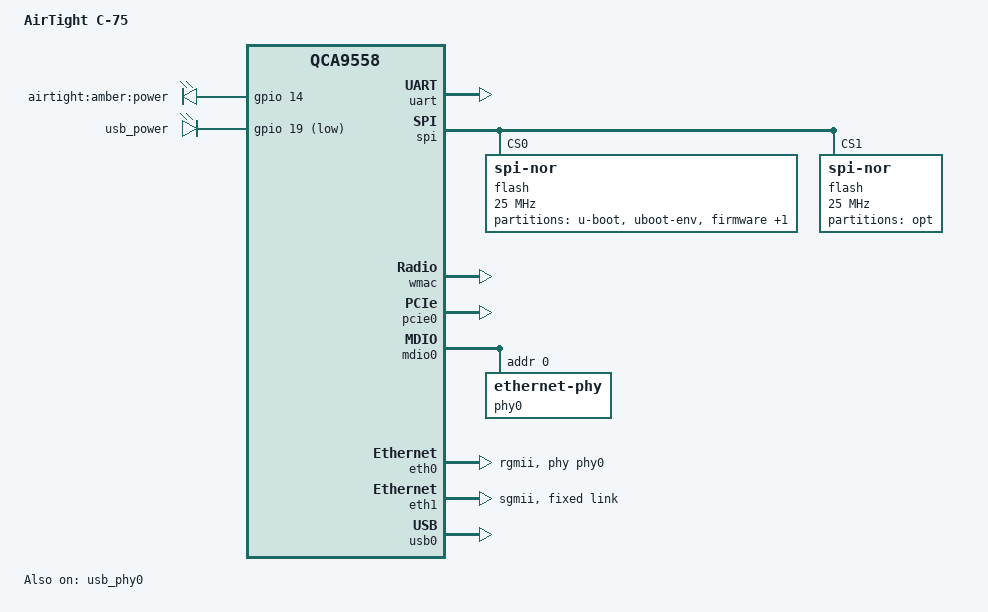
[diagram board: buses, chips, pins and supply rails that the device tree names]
// SPDX-License-Identifier: GPL-2.0-or-later OR MIT

/*
 * This board has QCA9550-AT4A CPU which is generic to Scorpion line, since QCA9550 is not defined in ath79 I just set it to be QCA9558.
 * LEDs "2.4Ghz WiFi" and "Power Green" seem to be connected to AR8334 and I did not find a way to export them.
 * This board has Reset Button but wiring is not known and is not defined in this file.
 */

/dts-v1/;

#include <dt-bindings/gpio/gpio.h>
#include <dt-bindings/input/input.h>

#include "qca9557.dtsi"

/ {
	model = "AirTight C-75";
	compatible = "airtight,c-75", "qca,qca9558";

	chosen {
		bootargs = "console=ttyS0,115200";
	};
	
	aliases {
		led-boot = &power;
		led-failsafe = &power;
		led-upgrade = &power;
	};

	leds {
		compatible = "gpio-leds";

		power: power {
			label = "airtight:amber:power";
			gpios = <&gpio 14 GPIO_ACTIVE_HIGH>;
			default-state = "on";
		};
		usb_power: usb_power {
			gpio-export,name = "airtight:power:usb";
			gpio-export,output = <1>;
			gpios = <&gpio 19 GPIO_ACTIVE_LOW>;
			default-state = "on";
		};
	};
};

&uart {
	status = "okay";
};

&spi {
	status = "okay";
	cs-gpios = <0>, <0>;
	num-cs = <2>;

	flash@0 {
		compatible = "jedec,spi-nor";
		reg = <0>;
		spi-max-frequency = <25000000>;

		partitions {
			compatible = "fixed-partitions";
			#address-cells = <1>;
			#size-cells = <1>;

			uboot: partition@0 {
				label = "u-boot";
				reg = <0x000000 0x040000>;
				read-only;
			};

			partition@40000 {
				label = "uboot-env";
				reg = <0x040000 0x020000>;
			};

			partition@60000	{
				label = "firmware";
				reg = <0x060000 0xf90000>;
				compatible = "denx,uimage";
			};

			art: partition@ff0000 {
				label = "art";
				reg = <0xff0000 0x010000>;
				read-only;
			};
		};
	};

	flash@1 {
		compatible = "jedec,spi-nor";
		reg = <1>;
		spi-max-frequency = <25000000>;

		partitions {
			compatible = "fixed-partitions";
			#address-cells = <1>;
			#size-cells = <1>;

			partition@0 {
				label = "opt";
				reg = <0x0 0x1000000>;
			};
		};
	};
};

&wmac {
	status = "okay";
	mtd-cal-data = <&art 0x1000>;
	mtd-mac-address-increment = <3>;
	mtd-mac-address = <&art 0x0>;
};

&pcie0 {
	status = "okay";
};

&gpio {
	status = "okay";
};

&mdio0 {
	status = "okay";

	phy0: ethernet-phy@0 {
		reg = <0>;
		qca,ar8327-initvals = <
			0x04 0x07600000 /* PORT0: RGMII */
			0x0c 0x00080080 /* PORT6: SGMII */
			0x10 0x81000080 /* POWER_ON_STRAP: LED open drain, SerDes auto-neg disabled */
			0x50 0xcc35cc35 /* LED_CTRL0 */
			0x54 0xca35ca35 /* LED_CTRL1 */
			0x58 0xc935c935 /* LED_CTRL2 */
			0x5c 0x03ffff00 /* LED_CTRL3 0x8dfe8dfe?*/
			0x7c 0x0000007e /* PORT0_STATUS */
			0x94 0x0000007e /* PORT6 STATUS */
		>;
	};
};

&eth0 {
	status = "okay";

	pll-data = <0xa6000000 0x00000101 0x00001616>;
	mtd-mac-address = <&art 0x0>;

	phy-handle = <&phy0>;
	phy-mode = "rgmii";

	gmac-config {
		device = <&gmac>;
		rgmii-gmac0 = <1>;
		rxd-delay = <2>;
		rxdv-delay = <2>;
	};
};

&eth1 {
	status = "okay";

	phy-mode = "sgmii";
	pll-data = <0x03000101 0x00000101 0x00001616>;
	mtd-mac-address = <&art 0x6>;

	fixed-link {
		speed = <1000>;
		full-duplex;
	};
};

&usb_phy0 {
	status = "okay";
};

&usb0 {
	#address-cells = <1>;
	#size-cells = <0>;
	status = "okay";

	hub_port0: port@1 {
		reg = <1>;
		#trigger-source-cells = <0>;
	};
};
